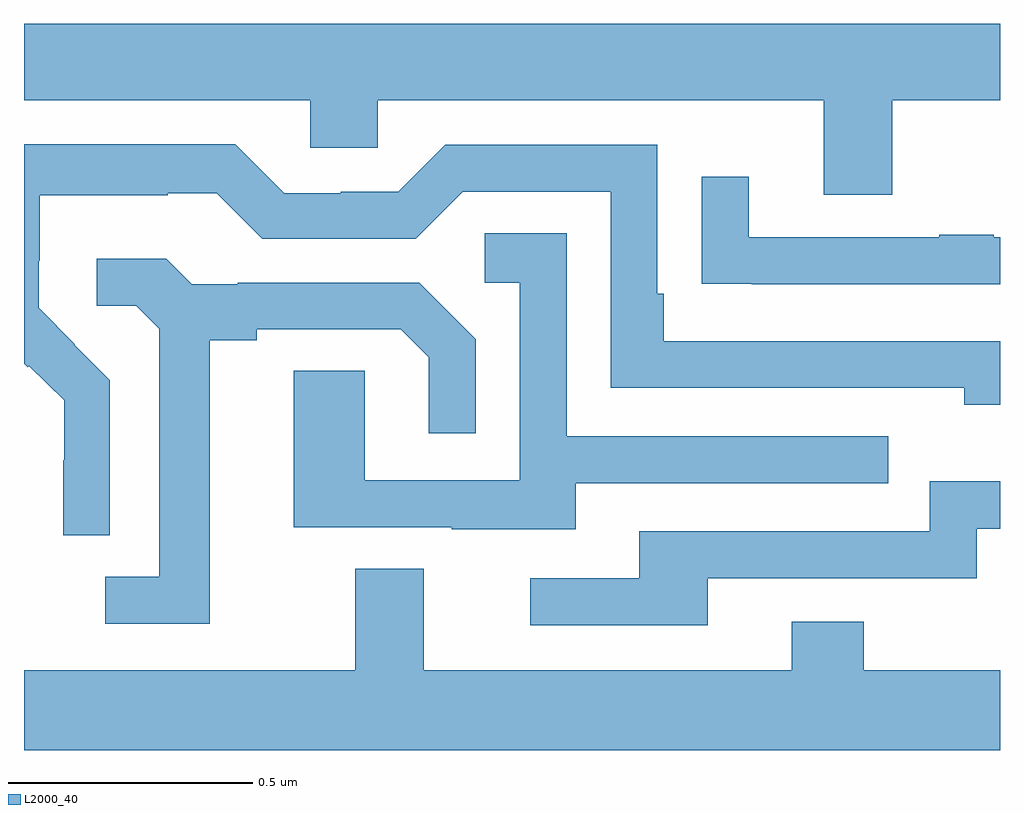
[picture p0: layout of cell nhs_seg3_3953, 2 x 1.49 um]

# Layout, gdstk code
import gdstk
lib = gdstk.Library(unit=1e-6, precision=1e-09)
def P(c, l, *ps):  # polygons
    for p in ps: c.add(gdstk.Polygon(p, *l))
L2000_40 = (2000, 40)

nhs_seg3_3953 = lib.new_cell('nhs_seg3_3953')
P(nhs_seg3_3953, L2000_40, [(161.779,706.244),(162,706.244),(162,706.4),(160,706.4),(160,706.244),(160.587,706.244),(160.587,706.146),(160.725,706.146),(160.725,706.244),(161.639,706.244),(161.639,706.05),(161.779,706.05)],
  [(160.176,705.67),(160.103,705.743),(160.104,705.744),(160.03,705.818),(160.03,705.915),(160.032,705.915),(160.032,706.049),(160.295,706.049),(160.295,706.053),(160.395,706.053),(160.488,705.96),(160.803,705.96),(160.899,706.056),(161.202,706.056),(161.202,705.654),(161.927,705.654),(161.927,705.62),(162,705.62),(162,705.75),(161.311,705.75),(161.311,705.847),(161.298,705.847),(161.298,706.152),(160.863,706.152),(160.767,706.056),(160.649,706.056),(160.649,706.053),(160.533,706.053),(160.433,706.153),(160,706.153),(160,705.704),(160.008,705.696),(160.011,705.699),(160.082,705.629),(160.082,705.506),(160.08,705.506),(160.08,705.352),(160.176,705.352)],
  [(162,705.963),(161.987,705.963),(161.987,705.968),(161.875,705.968),(161.875,705.963),(161.485,705.963),(161.485,706.087),(161.389,706.087),(161.389,705.868),(161.491,705.868),(161.491,705.867),(162,705.867)],
  [(161.131,705.459),(161.771,705.459),(161.771,705.555),(161.112,705.555),(161.112,705.971),(160.944,705.971),(160.944,705.87),(161.016,705.87),(161.016,705.465),(160.698,705.465),(160.698,705.689),(160.553,705.689),(160.553,705.369),(160.877,705.369),(160.877,705.365),(161.131,705.365)],
  [(160.381,705.752),(160.477,705.752),(160.477,705.774),(160.772,705.774),(160.829,705.717),(160.829,705.561),(160.926,705.561),(160.926,705.754),(160.81,705.87),(160.438,705.87),(160.438,705.867),(160.344,705.867),(160.292,705.919),(160.149,705.919),(160.149,705.822),(160.23,705.822),(160.277,705.775),(160.277,705.267),(160.167,705.267),(160.167,705.171),(160.381,705.171)],
  [(161.401,705.264),(161.952,705.264),(161.952,705.366),(162,705.366),(162,705.463),(161.856,705.463),(161.856,705.36),(161.261,705.36),(161.261,705.264),(161.037,705.264),(161.037,705.168),(161.401,705.168)],
  [(162,705.076),(161.721,705.076),(161.721,705.175),(161.573,705.175),(161.573,705.076),(160.819,705.076),(160.819,705.284),(160.679,705.284),(160.679,705.076),(160,705.076),(160,704.912),(162,704.912)])

lib.write_gds('nhs_seg3_3953.gds')
